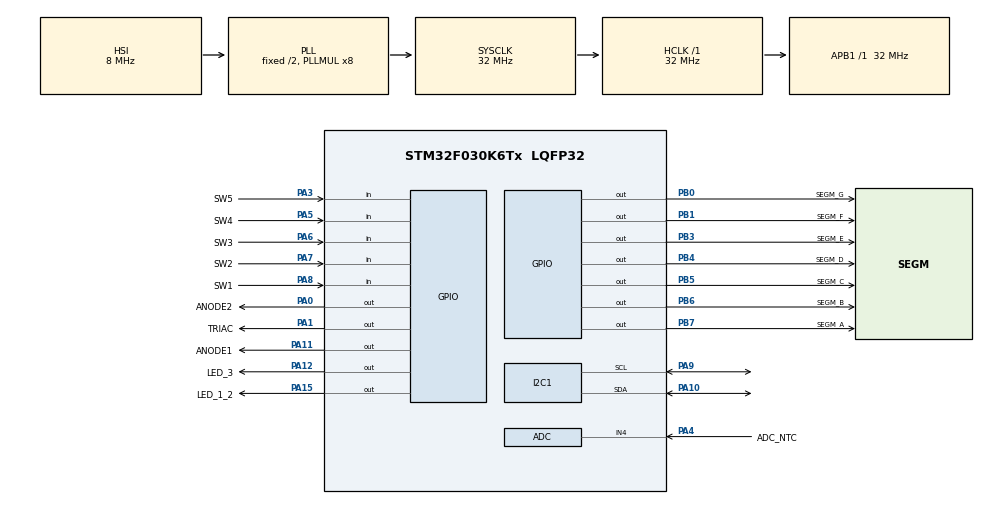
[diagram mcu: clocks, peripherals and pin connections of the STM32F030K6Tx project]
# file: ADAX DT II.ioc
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ADC.ExternalTrigConv=ADC_EXTERNALTRIGCONV_T1_TRGO
ADC.SamplingTime=ADC_SAMPLETIME_7CYCLES_5
Dma.ADC.0.Direction=DMA_PERIPH_TO_MEMORY
Dma.ADC.0.Instance=DMA1_Channel1
Dma.ADC.0.MemDataAlignment=DMA_MDATAALIGN_HALFWORD
Dma.ADC.0.MemInc=DMA_MINC_DISABLE
Dma.ADC.0.Mode=DMA_NORMAL
Dma.ADC.0.PeriphDataAlignment=DMA_PDATAALIGN_HALFWORD
Dma.ADC.0.PeriphInc=DMA_PINC_DISABLE
Dma.ADC.0.Priority=DMA_PRIORITY_LOW
Dma.Request0=ADC
Mcu.Family=STM32F0
Mcu.Name=STM32F030K6Tx
Mcu.Package=LQFP32
NVIC.DMA1_Channel1_IRQn=true\:0\:0\:false\:false\:true
NVIC.TIM1_BRK_UP_TRG_COM_IRQn=true\:0\:0\:false\:false\:true
NVIC.TIM1_CC_IRQn=true\:0\:0\:false\:false\:true
NVIC.TIM3_IRQn=true\:0\:0\:false\:false\:true
PA0.GPIO_Label=ANODE2
PA0.Signal=GPIO_Output
PA1.GPIO_Label=TRIAC
PA1.Signal=GPIO_Output
PA10.Mode=I2C
PA10.Signal=I2C1_SDA
PA11.GPIO_Label=ANODE1
PA11.Signal=GPIO_Output
PA12.GPIO_Label=LED_3
PA12.Signal=GPIO_Output
PA13.Mode=Serial_Wire
PA13.Signal=SYS_SWDIO
PA14.Mode=Serial_Wire
PA14.Signal=SYS_SWCLK
PA15.GPIO_Label=LED_1_2
PA15.Signal=GPIO_Output
PA3.GPIO_Label=SW5
PA3.GPIO_PuPd=GPIO_PULLUP
PA3.Signal=GPIO_Input
PA4.GPIO_Label=ADC_NTC
PA4.Mode=IN4
PA4.Signal=ADC_IN4
PA5.GPIO_Label=SW4
PA5.GPIO_PuPd=GPIO_PULLUP
PA5.Signal=GPIO_Input
PA6.GPIO_Label=SW3
PA6.GPIO_PuPd=GPIO_PULLUP
PA6.Signal=GPIO_Input
PA7.GPIO_Label=SW2
PA7.GPIO_PuPd=GPIO_PULLUP
PA7.Signal=GPIO_Input
PA8.GPIO_Label=SW1
PA8.GPIO_PuPd=GPIO_PULLUP
PA8.Signal=GPIO_Input
PA9.Mode=I2C
PA9.Signal=I2C1_SCL
PB0.GPIO_Label=SEGM_G
PB0.Signal=GPIO_Output
PB1.GPIO_Label=SEGM_F
PB1.Signal=GPIO_Output
PB3.GPIO_Label=SEGM_E
PB3.Signal=GPIO_Output
PB4.GPIO_Label=SEGM_D
PB4.Signal=GPIO_Output
PB5.GPIO_Label=SEGM_C
PB5.Signal=GPIO_Output
PB6.GPIO_Label=SEGM_B
PB6.Signal=GPIO_Output
PB7.GPIO_Label=SEGM_A
PB7.Signal=GPIO_Output
ProjectManager.HeapSize=0x200
ProjectManager.StackSize=0x400
ProjectManager.TargetToolchain=MDK-ARM V5
RCC.AHBFreq_Value=32000000
RCC.APB1Freq_Value=32000000
RCC.APB1TimFreq_Value=32000000
RCC.HCLKFreq_Value=32000000
RCC.PLLMUL=RCC_PLL_MUL8
RCC.SYSCLKFreq_VALUE=32000000
RCC.SYSCLKSource=RCC_SYSCLKSOURCE_PLLCLK
TIM1.Period=250
TIM1.Prescaler=8000
TIM3.Period=4
TIM3.Prescaler=8000
VP_RTC_VS_RTC_Activate.Mode=RTC_Enabled
VP_RTC_VS_RTC_Alarm_A_Intern.Mode=Alarm A
VP_RTC_VS_RTC_Calendar.Mode=RTC_Calendar
VP_TIM1_VS_ClockSourceINT.Mode=Internal
VP_TIM3_VS_ClockSourceINT.Mode=Internal
board=ADAX DT II

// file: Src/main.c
/**
  ******************************************************************************
  * File Name          : main.c
  * Description        : Main program body
  ******************************************************************************
  *
  * COPYRIGHT(c) 2017 STMicroelectronics
  *
  * Redistribution and use in source and binary forms, with or without modification,
  * are permitted provided that the following conditions are met:
  *   1. Redistributions of source code must retain the above copyright notice,
  *      this list of conditions and the following disclaimer.
  *   2. Redistributions in binary form must reproduce the above copyright notice,
  *      this list of conditions and the following disclaimer in the documentation
  *      and/or other materials provided with the distribution.
  *   3. Neither the name of STMicroelectronics nor the names of its contributors
  *      may be used to endorse or promote products derived from this software
  *      without specific prior written permission.
  *
  * THIS SOFTWARE IS PROVIDED BY THE COPYRIGHT HOLDERS AND CONTRIBUTORS "AS IS"
  * AND ANY EXPRESS OR IMPLIED WARRANTIES, INCLUDING, BUT NOT LIMITED TO, THE
  * IMPLIED WARRANTIES OF MERCHANTABILITY AND FITNESS FOR A PARTICULAR PURPOSE ARE
  * DISCLAIMED. IN NO EVENT SHALL THE COPYRIGHT HOLDER OR CONTRIBUTORS BE LIABLE
  * FOR ANY DIRECT, INDIRECT, INCIDENTAL, SPECIAL, EXEMPLARY, OR CONSEQUENTIAL
  * DAMAGES (INCLUDING, BUT NOT LIMITED TO, PROCUREMENT OF SUBSTITUTE GOODS OR
  * SERVICES; LOSS OF USE, DATA, OR PROFITS; OR BUSINESS INTERRUPTION) HOWEVER
  * CAUSED AND ON ANY THEORY OF LIABILITY, WHETHER IN CONTRACT, STRICT LIABILITY,
  * OR TORT (INCLUDING NEGLIGENCE OR OTHERWISE) ARISING IN ANY WAY OUT OF THE USE
  * OF THIS SOFTWARE, EVEN IF ADVISED OF THE POSSIBILITY OF SUCH DAMAGE.
  *
  ******************************************************************************
  */

#include "stm32f0xx_hal.h"
#include "adc.h"
#include "dma.h"
#include "i2c.h"
#include "rtc.h"
#include "tim.h"
#include "gpio.h"

/* USER CODE BEGIN Includes */
#include "display.h"
#include "macros.h"
#include "button_handler.h"
#include "heating.h"
#include "open_window.h"
#include "current_state.h"
#include "temperature.h"
#include "flash.h"
#include "main.h"
/* USER CODE END Includes */

/* USER CODE BEGIN PV */
/* Private variables ---------------------------------------------------------*/

/* USER CODE END PV */

void SystemClock_Config(void);
void Error_Handler(void);
void Init(void);

/* USER CODE BEGIN PFP */
/* Private function prototypes -----------------------------------------------*/

/* USER CODE END PFP */

int main(void)
{

  /* MCU Configuration----------------------------------------------------------*/

  /* Reset of all peripherals, Initializes the Flash interface and the Systick. */

  HAL_Init();

  /* Configure the system clock */
  SystemClock_Config();

  /* Initialize all configured peripherals */
  MX_GPIO_Init();
  MX_DMA_Init();
  MX_ADC_Init();
  MX_I2C1_Init();
  MX_RTC_Init();
  MX_TIM1_Init();
  MX_TIM3_Init();

  /* USER CODE BEGIN 2 */
	HAL_TIM_Base_Start_IT(&htim3);
	HAL_TIM_Base_Start_IT(&htim1);
	buttons_init();

	LED_1_2_OFF;
	LED_3_OFF;

	Init();

/* USER CODE END 2 */

  /* Infinite loop */
  while (1)
  {
  /* USER CODE BEGIN 3 */
		updateTemperature();

  }
  /* USER CODE END 3 */

}

/** System Clock Configuration
*/
void SystemClock_Config(void)
{

  RCC_OscInitTypeDef RCC_OscInitStruct;
  RCC_ClkInitTypeDef RCC_ClkInitStruct;
  RCC_PeriphCLKInitTypeDef PeriphClkInit;

    /**Initializes the CPU, AHB and APB busses clocks
    */
  RCC_OscInitStruct.OscillatorType = RCC_OSCILLATORTYPE_HSI|RCC_OSCILLATORTYPE_HSI14
                              |RCC_OSCILLATORTYPE_LSI;
  RCC_OscInitStruct.HSIState = RCC_HSI_ON;
  RCC_OscInitStruct.HSI14State = RCC_HSI14_ON;
  RCC_OscInitStruct.HSICalibrationValue = 16;
  RCC_OscInitStruct.HSI14CalibrationValue = 16;
  RCC_OscInitStruct.LSIState = RCC_LSI_ON;
  RCC_OscInitStruct.PLL.PLLState = RCC_PLL_ON;
  RCC_OscInitStruct.PLL.PLLSource = RCC_PLLSOURCE_HSI;
  RCC_OscInitStruct.PLL.PLLMUL = RCC_PLL_MUL8;
  RCC_OscInitStruct.PLL.PREDIV = RCC_PREDIV_DIV1;
  if (HAL_RCC_OscConfig(&RCC_OscInitStruct) != HAL_OK)
  {
    Error_Handler();
  }

    /**Initializes the CPU, AHB and APB busses clocks
    */
  RCC_ClkInitStruct.ClockType = RCC_CLOCKTYPE_HCLK|RCC_CLOCKTYPE_SYSCLK
                              |RCC_CLOCKTYPE_PCLK1;
  RCC_ClkInitStruct.SYSCLKSource = RCC_SYSCLKSOURCE_PLLCLK;
  RCC_ClkInitStruct.AHBCLKDivider = RCC_SYSCLK_DIV1;
  RCC_ClkInitStruct.APB1CLKDivider = RCC_HCLK_DIV1;

  if (HAL_RCC_ClockConfig(&RCC_ClkInitStruct, FLASH_LATENCY_1) != HAL_OK)
  {
    Error_Handler();
  }

  PeriphClkInit.PeriphClockSelection = RCC_PERIPHCLK_I2C1|RCC_PERIPHCLK_RTC;
  PeriphClkInit.I2c1ClockSelection = RCC_I2C1CLKSOURCE_HSI;
  PeriphClkInit.RTCClockSelection = RCC_RTCCLKSOURCE_LSI;
  if (HAL_RCCEx_PeriphCLKConfig(&PeriphClkInit) != HAL_OK)
  {
    Error_Handler();
  }

    /**Configure the Systick interrupt time
    */
  HAL_SYSTICK_Config(HAL_RCC_GetHCLKFreq()/1000);

    /**Configure the Systick
    */
  HAL_SYSTICK_CLKSourceConfig(SYSTICK_CLKSOURCE_HCLK);

  /* SysTick_IRQn interrupt configuration */
  HAL_NVIC_SetPriority(SysTick_IRQn, 0, 0);
}

/* USER CODE BEGIN 4 */
void Init()
{
	bool isFlashEmpty = true;

	display_init();
	timeDateInit();
	open_window_init();
	current_status.Temperature.comfort = display_status.currentTarget;

	if(wasFlashSet())
	{
		flashReadHalfword();
		display_status.currentTarget = current_status.Temperature.comfort;
		isFlashEmpty = false;
		i2cRTCstartingTimeInit(isFlashEmpty);
		programsInit(isFlashEmpty);
		passCurrentProgramCallback();

	}
	else
	{
		i2cRTCstartingTimeInit(isFlashEmpty);
		programsInit(isFlashEmpty);
	}
	current_status.isAdaptiveStart = true;
}

/* USER CODE END 4 */

void Error_Handler(void)
{
  while(1)
  {
  }
}

/************************ (C) COPYRIGHT STMicroelectronics *****END OF FILE****/
